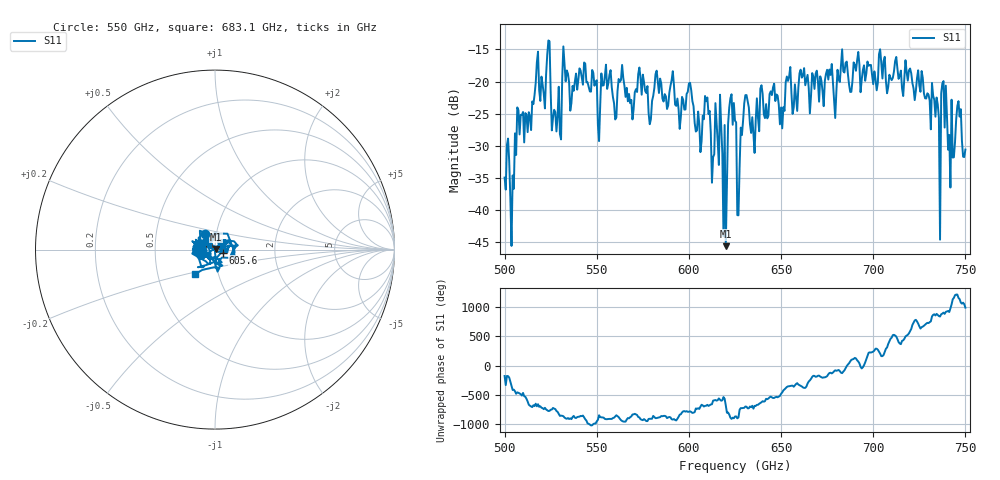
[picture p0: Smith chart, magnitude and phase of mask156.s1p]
!Created with skrf (http://scikit-rf.org).
# GHz S MA R 50.0
!freq magS11 angS11
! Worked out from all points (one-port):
!   401 points, 500 GHz to 750 GHz, reference 50 ohm
!   lowest |S11| = -45.7 dB at 620 GHz (marker M1), VSWR 1.01, Z = 50.4 + j0.323 ohm
!   |S11| at or under -10 dB: start of sweep to end of sweep
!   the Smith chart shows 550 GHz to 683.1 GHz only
!   S11 on the Smith chart (normalised r, x): 550 GHz: 0.88, +0.15; 605.6 GHz: 1.09, -0.04; 683.1 GHz: 0.77, -0.22
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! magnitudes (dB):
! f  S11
! 500 GHz  -35.0
! 503.8 GHz  -45.6
! 508.1 GHz  -28.2
! 517.5 GHz  -17.0
! 523.8 GHz  -13.6
! 526.9 GHz  -24.4
! 531.2 GHz  -19.5
! 550 GHz  -19.8
! 562.5 GHz  -20.1
! 593.8 GHz  -22.7
! 600 GHz  -20.3
! 605.6 GHz  -26.6
! 610 GHz  -22.5
! 620 GHz  -45.7
! 622.5 GHz  -22.6
! 625 GHz  -26.1
! 627.5 GHz  -33.3
! 631.2 GHz  -22.1
! 634.4 GHz  -25.6
! 656.2 GHz  -25.0
! 683.1 GHz  -15.0
! 687.5 GHz  -21.6
! 718.8 GHz  -19.9
! 735 GHz  -23.6
! 738.1 GHz  -19.9
! 743.1 GHz  -31.9
! 746.2 GHz  -23.1
! 750 GHz  -30.6
